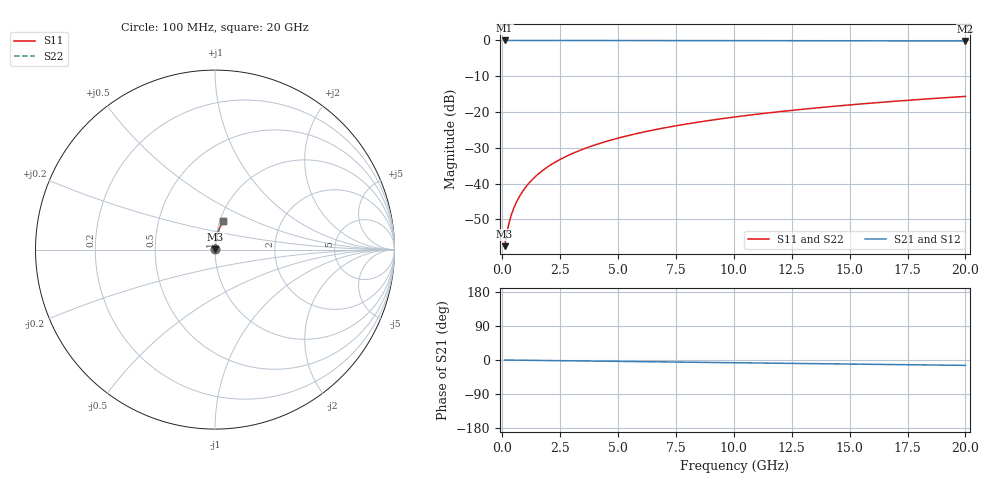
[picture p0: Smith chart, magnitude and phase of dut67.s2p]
! Touchstone file exported from HFSS 2026.1.0
!  File:  C:/ffzhzh/LocalFiles/Ansys_Project_Files/temp_train_BSMRDL_67_1782882850_46784.aedt
!  Generated:  01:15:32 PM Jul  1, 2026
!  Design:  BSMRDL
!  Project:  temp_train_BSMRDL_67_1782882850_46784
! Variables:
!  h_bsmrdl = 4.01um
!  h_ox = 20um
!  h_rdl = 5um
!  h_sub = 80um
!  h_tmrdl = 5um
!  h_tsv = 80um
!  h_via = 3um
!  l_bsmrdl = 152.4um
!  l_sub = 552.4um
!  l_tmrdl = 200um
!  m_sub = 200um
!  pitch = 48.27um
!  r_tsv = 6um
!  s_tmrdl = 10um
!  w_bsmrdl = 16.62um
!  w_sub = 500um
!  w_tmrdl = 12um
!  x_tsv_center1 = 206um
!  x_tsv_center2 = 375.02um
!  x_tsv_center3 = 587.02um
!  x_tsv_center4 = 756.04um
!  x_tsv_center5 = 968.04um
!  x_tsv_center6 = 1137.06um
# GHz S MA R 50.000000
! Terminal data exported
! Port[1] = BSM_RDL1_1_T1
! Port[2] = BSM_RDL1_1_T2
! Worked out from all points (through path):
!   200 points, 100 MHz to 20 GHz, reference 50 ohm
!   highest |S21| = -0.01 dB at 100 MHz (marker M1); lowest = -0.2 dB at 20 GHz (marker M2)
!   group delay of S21, straight-line fit = 1.97 ps
!   lowest |S11| = -57.5 dB at 100 MHz (marker M3), VSWR 1.00, Z = 50.1 + j0.0919 ohm
!   |S11| at or under -10 dB: start of sweep to end of sweep
!   |S22| runs from -57.5 to -15.6 dB; largest |S21 - S12| = 4.4e-15
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0.1  0.001341 43.2  0.999 -0.1  0.999 -0.1  0.001341 43.2
! Gamma 0 0 0 0
! Port Impedance 50 0 50 0
0.2  0.002082 60.9  0.999 -0.2  0.999 -0.2  0.002082 60.9
0.3  0.002902 68.8  0.999 -0.2  0.999 -0.2  0.002902 68.8
0.4  0.00374 73.1  0.9989 -0.3  0.9989 -0.3  0.00374 73.1
0.5  0.004585 75.9  0.9989 -0.4  0.9989 -0.4  0.004585 75.9
0.6  0.005435 77.8  0.9989 -0.4  0.9989 -0.4  0.005435 77.8
0.8  0.007144 80.2  0.9988 -0.6  0.9988 -0.6  0.007144 80.2
1.1  0.009725 82.3  0.9988 -0.8  0.9988 -0.8  0.009725 82.3
1.5  0.01318 83.6  0.9987 -1.1  0.9987 -1.1  0.01318 83.6
1.8  0.01577 84.1  0.9986 -1.3  0.9986 -1.3  0.01577 84.1
2.1  0.01837 84.4  0.9985 -1.5  0.9985 -1.5  0.01837 84.4
2.7  0.02355 84.7  0.9983 -2.0  0.9983 -2.0  0.02355 84.7
3.5  0.03044 84.6  0.998 -2.6  0.998 -2.6  0.03044 84.6
4.2  0.03643 84.3  0.9977 -3.1  0.9977 -3.1  0.03643 84.3
5  0.04325 83.9  0.9972 -3.6  0.9972 -3.6  0.04325 83.9
5.9  0.05087 83.4  0.9967 -4.3  0.9967 -4.3  0.05087 83.4
6.8  0.05845 82.9  0.9961 -4.9  0.9961 -4.9  0.05845 82.9
8.3  0.07099 82.0  0.995 -6.0  0.995 -6.0  0.07099 82.0
10.1  0.0859 80.8  0.9935 -7.3  0.9935 -7.3  0.0859 80.8
13.4  0.1129 78.7  0.9903 -9.6  0.9903 -9.6  0.1129 78.7
16.7  0.1394 76.6  0.9865 -11.9  0.9865 -11.9  0.1394 76.6
20  0.1655 74.4  0.9821 -14.2  0.9821 -14.2  0.1655 74.4
